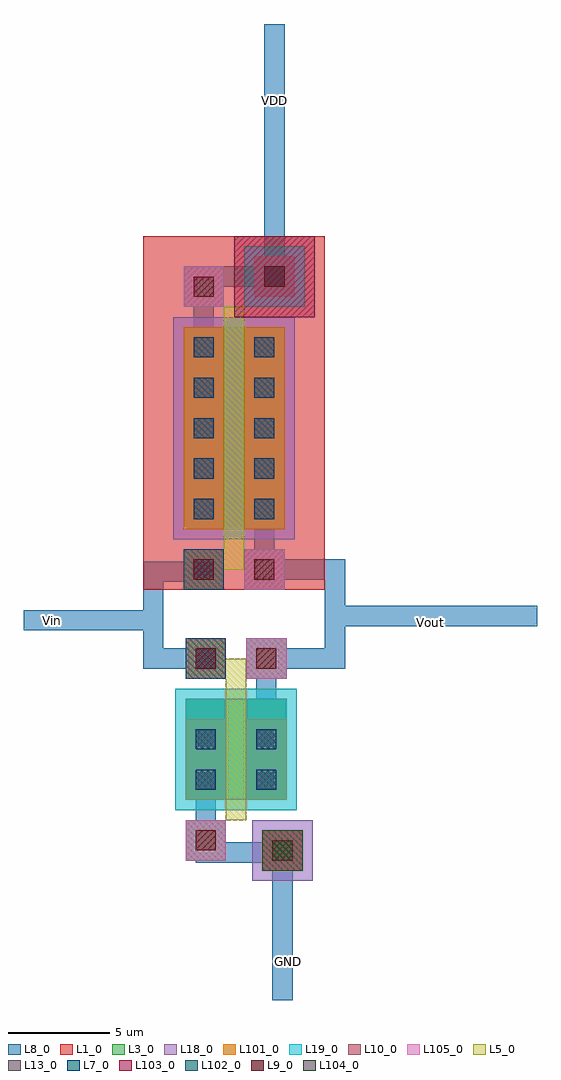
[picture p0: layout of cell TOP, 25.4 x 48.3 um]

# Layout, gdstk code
import gdstk
lib = gdstk.Library(unit=1e-6, precision=1e-07)
def R(c, l, rs):  # rectangles x0, y0, x1, y1
    for r in rs: c.add(gdstk.rectangle(r[:2], r[2:], *l))
L1_0 = (1, 0)
L3_0 = (3, 0)
L5_0 = (5, 0)
L7_0 = (7, 0)
L8_0 = (8, 0)
L9_0 = (9, 0)
L10_0 = (10, 0)
L13_0 = (13, 0)
L18_0 = (18, 0)
L19_0 = (19, 0)
L101_0 = (101, 0)
L102_0 = (102, 0)
L103_0 = (103, 0)
L104_0 = (104, 0)
L105_0 = (105, 0)

dcont = lib.new_cell('dcont')
R(dcont, L3_0, [(-1,-1,1,1)])
R(dcont, L7_0, [(-0.5,-0.5,0.5,0.5)])
R(dcont, L8_0, [(-1,-1,1,1)])
R(dcont, L13_0, [(-0.5,-0.5,0.5,0.5)])
R(dcont, L101_0, [(-1,-1,1,1)])

pcont = lib.new_cell('pcont')
R(pcont, L5_0, [(-1,-1,1,1)])
R(pcont, L7_0, [(-0.5,-0.5,0.5,0.5)])
R(pcont, L8_0, [(-1,-1,1,1)])
R(pcont, L13_0, [(-0.5,-0.5,0.5,0.5)])
R(pcont, L102_0, [(-1,-1,1,1)])

via = lib.new_cell('Via')
R(via, L8_0, [(-1,-1,1,1)])
R(via, L9_0, [(-0.5,-0.5,0.5,0.5)])
R(via, L10_0, [(-1,-1,1,1)])
R(via, L13_0, [(-0.5,-0.5,0.5,0.5)])
R(via, L105_0, [(-1,-1,1,1)])

dcont1 = lib.new_cell('dcont1')
R(dcont1, L3_0, [(-1,-1,1,1)])
R(dcont1, L7_0, [(-0.5,-0.5,0.5,0.5)])
R(dcont1, L8_0, [(-1,-1,1,1)])
R(dcont1, L13_0, [(-0.5,-0.5,0.5,0.5)])
R(dcont1, L101_0, [(-1,-1,1,1)])

nsubcont = lib.new_cell('nsubcont')
R(nsubcont, L1_0, [(-2,-2,2,2)])
R(nsubcont, L19_0, [(-1.5,-1.5,1.5,1.5)])
R(nsubcont, L103_0, [(-2,-2,2,2)])
nsubcont.add(gdstk.Reference(dcont1, (0,0)))

pch_1 = lib.new_cell('Pch$1')
R(pch_1, L1_0, [(-2,0,7,17.5)])
R(pch_1, L3_0, [(0,3,5,13)])
R(pch_1, L18_0, [(-0.5,2.5,5.5,13.5)])
pch_1.add(gdstk.FlexPath([(2.5,3),(2.5,13)], 1, ends=(1, 1), simple_path=True, layer=5, datatype=0))  # L5_0
pch_1.add(gdstk.FlexPath([(1,1.5),(2.5,1.5),(2.5,2)], 1, ends="flush", simple_path=True, layer=5, datatype=0))  # L5_0
pch_1.add(gdstk.FlexPath([(1,3),(1,13)], 2, ends="flush", simple_path=True, layer=8, datatype=0))  # L8_0
pch_1.add(gdstk.FlexPath([(4,3),(4,13)], 2, ends="flush", simple_path=True, layer=8, datatype=0))  # L8_0
pch_1.add(gdstk.FlexPath([(1,12),(1,15)], 1, ends="flush", simple_path=True, layer=8, datatype=0))  # L8_0
pch_1.add(gdstk.FlexPath([(4,1),(4,4)], 1, ends="flush", simple_path=True, layer=8, datatype=0))  # L8_0
pch_1.add(gdstk.Reference(dcont, (1,4)))
pch_1.add(gdstk.Reference(dcont, (1,6)))
pch_1.add(gdstk.Reference(dcont, (1,8)))
pch_1.add(gdstk.Reference(dcont, (1,10)))
pch_1.add(gdstk.Reference(dcont, (1,12)))
pch_1.add(gdstk.Reference(dcont, (4,4)))
pch_1.add(gdstk.Reference(dcont, (4,6)))
pch_1.add(gdstk.Reference(dcont, (4,8)))
pch_1.add(gdstk.Reference(dcont, (4,10)))
pch_1.add(gdstk.Reference(dcont, (4,12)))
pch_1.add(gdstk.Reference(pcont, (1,1)))
pch_1.add(gdstk.Reference(via, (1,1)))
pch_1.add(gdstk.Reference(via, (1,15)))
pch_1.add(gdstk.Reference(via, (4,1)))
pch_1.add(gdstk.Reference(nsubcont, (4.5,15.5)))
pch_1.add(gdstk.Reference(via, (4.5,15.5)))

psubcont = lib.new_cell('psubcont')
R(psubcont, L18_0, [(-1.5,-1.5,1.5,1.5)])
R(psubcont, L104_0, [(-1,-1,1,1)])
psubcont.add(gdstk.Reference(dcont1, (0,0)))

nch = lib.new_cell('Nch')
R(nch, L3_0, [(0,3,5,8)])
R(nch, L19_0, [(-0.5,2.5,5.5,8.5)])
nch.add(gdstk.FlexPath([(2.5,3),(2.5,8)], 1, ends=(1, 1), simple_path=True, layer=5, datatype=0))  # L5_0
nch.add(gdstk.FlexPath([(1,9.5),(2.5,9.5),(2.5,9)], 1, ends="flush", simple_path=True, layer=5, datatype=0))  # L5_0
nch.add(gdstk.FlexPath([(1,3),(1,8)], 2, ends="flush", simple_path=True, layer=8, datatype=0))  # L8_0
nch.add(gdstk.FlexPath([(4,3),(4,8)], 2, ends="flush", simple_path=True, layer=8, datatype=0))  # L8_0
nch.add(gdstk.FlexPath([(1,1),(1,4)], 1, ends="flush", simple_path=True, layer=8, datatype=0))  # L8_0
nch.add(gdstk.FlexPath([(4,7),(4,10)], 1, ends="flush", simple_path=True, layer=8, datatype=0))  # L8_0
nch.add(gdstk.Reference(dcont, (1,4)))
nch.add(gdstk.Reference(dcont, (1,6)))
nch.add(gdstk.Reference(dcont, (4,4)))
nch.add(gdstk.Reference(dcont, (4,6)))
nch.add(gdstk.Reference(pcont, (1,10)))
nch.add(gdstk.Reference(via, (1,10)))
nch.add(gdstk.Reference(via, (1,1)))
nch.add(gdstk.Reference(via, (4,10)))
nch.add(gdstk.Reference(psubcont, (4.8,0.5)))
nch.add(gdstk.Reference(via, (4.8,0.5)))

top = lib.new_cell('TOP')
top.add(gdstk.FlexPath([(9.5,23.1),(9.5,35.5)], 1, ends="flush", simple_path=True, layer=8, datatype=0))  # L8_0
top.add(gdstk.FlexPath([(5.9,22.6),(5.9,23),(9.5,23),(9.5,22.5)], 1, ends="flush", simple_path=True, layer=8, datatype=0))  # L8_0
top.add(gdstk.FlexPath([(6.1,-5.1),(6.1,-5.5),(9.9,-5.5),(9.9,-12.8)], 1, ends="flush", simple_path=True, layer=8, datatype=0))  # L8_0
top.add(gdstk.FlexPath([(12,6.2),(22.5,6.2)], 1, ends="flush", simple_path=True, layer=8, datatype=0))  # L8_0
top.add(gdstk.FlexPath([(4,6),(-2.9,6)], 1, ends="flush", simple_path=True, layer=8, datatype=0))  # L8_0
top.add(gdstk.FlexPath([(5.9,8.4),(3.5,8.4),(3.5,4.1),(6.2,4.1),(6.2,4.1)], 1, ends="flush", simple_path=True, layer=8, datatype=0))  # L8_0
top.add(gdstk.FlexPath([(9,8.5),(12.5,8.5),(12.5,4.1),(9,4.1)], 1, ends="flush", simple_path=True, layer=8, datatype=0))  # L8_0
top.add(gdstk.Reference(pch_1, (5,7.5)))
top.add(gdstk.Reference(nch, (5.1,-5.9)))
top.add(gdstk.Label('VDD', (9.5,31.7), layer=8, texttype=0))
top.add(gdstk.Label('Vout', (17.2,5.9), layer=8, texttype=0))
top.add(gdstk.Label('Vin', (-1.5,6), layer=8, texttype=0))
top.add(gdstk.Label('GND', (10.2,-10.9), layer=8, texttype=0))

lib.write_gds('TOP.gds')
